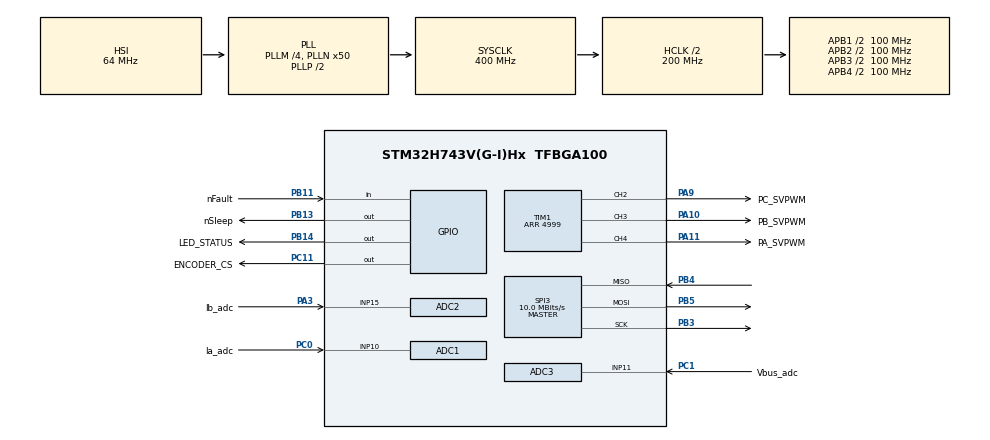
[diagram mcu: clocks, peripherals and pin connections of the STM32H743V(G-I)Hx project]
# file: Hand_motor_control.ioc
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ADC1.Channel-2\#ChannelRegularConversion=ADC_CHANNEL_10
ADC1.ClockPrescaler=ADC_CLOCK_ASYNC_DIV1
ADC1.EnableInjectedConversion=ENABLE
ADC1.ExternalTrigInjecConv=ADC_EXTERNALTRIGINJEC_T1_TRGO
ADC1.ExternalTrigInjecConvEdge=ADC_EXTERNALTRIGINJECCONV_EDGE_FALLING
ADC1.InjNumberOfConversion=1
ADC1.InjectedChannel-3\#ChannelInjectedConversion=ADC_CHANNEL_10
ADC1.InjectedOffsetNumber-3\#ChannelInjectedConversion=ADC_OFFSET_NONE
ADC1.InjectedOffsetSaturation-3\#ChannelInjectedConversion=DISABLE
ADC1.InjectedOffsetSignedSaturation-3\#ChannelInjectedConversion=DISABLE
ADC1.InjectedRank-3\#ChannelInjectedConversion=1
ADC1.InjectedSamplingTime-3\#ChannelInjectedConversion=ADC_SAMPLETIME_1CYCLE_5
ADC1.NbrOfConversionFlag=1
ADC1.OffsetNumber-2\#ChannelRegularConversion=ADC_OFFSET_NONE
ADC1.OffsetSignedSaturation-2\#ChannelRegularConversion=DISABLE
ADC1.Rank-2\#ChannelRegularConversion=1
ADC1.SamplingTime-2\#ChannelRegularConversion=ADC_SAMPLETIME_1CYCLE_5
ADC1.master=1
ADC2.Channel-1\#ChannelRegularConversion=ADC_CHANNEL_15
ADC2.ContinuousConvMode=DISABLE
ADC2.EnableInjectedConversion=ENABLE
ADC2.EnableRegularConversion=ENABLE
ADC2.ExternalTrigInjecConv=ADC_EXTERNALTRIGINJEC_T1_TRGO
ADC2.ExternalTrigInjecConvEdge=ADC_EXTERNALTRIGINJECCONV_EDGE_FALLING
ADC2.InjNumberOfConversion=1
ADC2.InjectedChannel-2\#ChannelInjectedConversion=ADC_CHANNEL_15
ADC2.InjectedOffsetNumber-2\#ChannelInjectedConversion=ADC_OFFSET_NONE
ADC2.InjectedOffsetSaturation-2\#ChannelInjectedConversion=DISABLE
ADC2.InjectedOffsetSignedSaturation-2\#ChannelInjectedConversion=DISABLE
ADC2.InjectedRank-2\#ChannelInjectedConversion=1
ADC2.InjectedSamplingTime-2\#ChannelInjectedConversion=ADC_SAMPLETIME_1CYCLE_5
ADC2.NbrOfConversionFlag=1
ADC2.OffsetNumber-1\#ChannelRegularConversion=ADC_OFFSET_NONE
ADC2.OffsetSignedSaturation-1\#ChannelRegularConversion=DISABLE
ADC2.Rank-1\#ChannelRegularConversion=1
ADC2.SamplingTime-1\#ChannelRegularConversion=ADC_SAMPLETIME_1CYCLE_5
ADC3.Channel-0\#ChannelRegularConversion=ADC_CHANNEL_11
ADC3.ClockPrescaler=ADC_CLOCK_ASYNC_DIV1
ADC3.EnableInjectedConversion=ENABLE
ADC3.ExternalTrigInjecConv=ADC_EXTERNALTRIGINJEC_T1_TRGO
ADC3.ExternalTrigInjecConvEdge=ADC_EXTERNALTRIGINJECCONV_EDGE_FALLING
ADC3.InjNumberOfConversion=1
ADC3.InjectedChannel-1\#ChannelInjectedConversion=ADC_CHANNEL_11
ADC3.InjectedOffsetNumber-1\#ChannelInjectedConversion=ADC_OFFSET_NONE
ADC3.InjectedOffsetSaturation-1\#ChannelInjectedConversion=DISABLE
ADC3.InjectedOffsetSignedSaturation-1\#ChannelInjectedConversion=DISABLE
ADC3.InjectedRank-1\#ChannelInjectedConversion=1
ADC3.InjectedSamplingTime-1\#ChannelInjectedConversion=ADC_SAMPLETIME_1CYCLE_5
ADC3.NbrOfConversionFlag=1
ADC3.OffsetNumber-0\#ChannelRegularConversion=ADC_OFFSET_NONE
ADC3.OffsetSignedSaturation-0\#ChannelRegularConversion=DISABLE
ADC3.Rank-0\#ChannelRegularConversion=1
ADC3.SamplingTime-0\#ChannelRegularConversion=ADC_SAMPLETIME_1CYCLE_5
CORTEX_M7.default_mode_Activation=1
Mcu.Family=STM32H7
Mcu.Name=STM32H743V(G-I)Hx
Mcu.Package=TFBGA100
NVIC.ADC_IRQn=true\:0\:0\:false\:false\:true\:true\:true\:true
NVIC.PriorityGroup=NVIC_PRIORITYGROUP_4
PA0.GPIO_Label=NTC
PA0.Signal=ADC1_INP16
PA10.GPIO_Label=PB_SVPWM
PA10.Signal=S_TIM1_CH3
PA11.GPIO_Label=PA_SVPWM
PA11.Signal=S_TIM1_CH4
PA13\ (JTMS/SWDIO).Signal=DEBUG_JTMS-SWDIO
PA14\ (JTCK/SWCLK).Signal=DEBUG_JTCK-SWCLK
PA3.GPIO_Label=Ib_adc
PA3.Signal=ADCx_INP15
PA9.GPIO_Label=PC_SVPWM
PA9.Signal=S_TIM1_CH2
PB11.GPIO_Label=nFault
PB11.Signal=GPIO_Input
PB13.GPIO_Label=nSleep
PB13.GPIO_OutputLevel=GPIO_PIN_SET
PB13.Signal=GPIO_Output
PB14.GPIO_Label=LED_STATUS
PB14.Signal=GPIO_Output
PB3\ (JTDO/TRACESWO).GPIO_Mode=GPIO_MODE_AF_PP
PB3\ (JTDO/TRACESWO).GPIO_PuPd=GPIO_NOPULL
PB3\ (JTDO/TRACESWO).GPIO_Speed=GPIO_SPEED_FREQ_VERY_HIGH
PB3\ (JTDO/TRACESWO).Mode=Full_Duplex_Master
PB3\ (JTDO/TRACESWO).Signal=SPI3_SCK
PB4\ (NJTRST).GPIO_Mode=GPIO_MODE_AF_PP
PB4\ (NJTRST).GPIO_PuPd=GPIO_NOPULL
PB4\ (NJTRST).GPIO_Speed=GPIO_SPEED_FREQ_VERY_HIGH
PB4\ (NJTRST).Mode=Full_Duplex_Master
PB4\ (NJTRST).Signal=SPI3_MISO
PB5.GPIO_Mode=GPIO_MODE_AF_PP
PB5.GPIO_PuPd=GPIO_NOPULL
PB5.GPIO_Speed=GPIO_SPEED_FREQ_VERY_HIGH
PB5.Mode=Full_Duplex_Master
PB5.Signal=SPI3_MOSI
PC0.GPIO_Label=Ia_adc
PC0.Signal=ADCx_INP10
PC1.GPIO_Label=Vbus_adc
PC1.Signal=ADCx_INP11
PC11.GPIO_Label=ENCODER_CS
PC11.GPIO_OutputLevel=GPIO_PIN_SET
PC11.GPIO_PuPd=GPIO_PULLUP
PC11.GPIO_Speed=GPIO_SPEED_FREQ_HIGH
PC11.Signal=GPIO_Output
PC14-OSC32_IN\ (OSC32_IN).Mode=LSE-External-Oscillator
PC14-OSC32_IN\ (OSC32_IN).Signal=RCC_OSC32_IN
PC15-OSC32_OUT\ (OSC32_OUT).Mode=LSE-External-Oscillator
PC15-OSC32_OUT\ (OSC32_OUT).Signal=RCC_OSC32_OUT
PE0.Signal=UART8_RX
PE1.Signal=UART8_TX
PE4.Signal=SPI4_NSS
PE5.Signal=SPI4_MISO
PE6.Signal=SPI4_MOSI
PH0-OSC_IN\ (PH0).Mode=HSE-External-Oscillator
PH0-OSC_IN\ (PH0).Signal=RCC_OSC_IN
PH1-OSC_OUT\ (PH1).Mode=HSE-External-Oscillator
PH1-OSC_OUT\ (PH1).Signal=RCC_OSC_OUT
ProjectManager.HeapSize=0x200
ProjectManager.StackSize=0x400
ProjectManager.TargetToolchain=STM32CubeIDE
RCC.ADCFreq_Value=80000000
RCC.APB1Freq_Value=100000000
RCC.APB2Freq_Value=100000000
RCC.APB3Freq_Value=100000000
RCC.APB4Freq_Value=100000000
RCC.CortexFreq_Value=400000000
RCC.D1PPRE=RCC_APB3_DIV2
RCC.D2PPRE1=RCC_APB1_DIV2
RCC.D2PPRE2=RCC_APB2_DIV2
RCC.D3PPRE=RCC_APB4_DIV2
RCC.DIVM1=4
RCC.DIVM2=4
RCC.DIVM3=4
RCC.DIVN1=50
RCC.DIVN2=10
RCC.DIVN3=10
RCC.DIVP3=1
RCC.HCLKFreq_Value=200000000
RCC.HPRE=RCC_HCLK_DIV2
RCC.PLL3FRACN=0
RCC.SPI123CLockSelection=RCC_SPI123CLKSOURCE_PLL3
RCC.SYSCLKFreq_VALUE=400000000
RCC.SYSCLKSource=RCC_SYSCLKSOURCE_PLLCLK
RCC.USBFreq_Value=400000000
SH.ADCx_INP10.0=ADC1_INP10,IN10-Single-Ended
SH.ADCx_INP11.0=ADC3_INP11,IN11-Single-Ended
SH.ADCx_INP15.0=ADC2_INP15,IN15-Single-Ended
SH.S_TIM1_CH2.0=TIM1_CH2,PWM Generation2 CH2
SH.S_TIM1_CH3.0=TIM1_CH3,PWM Generation3 CH3
SH.S_TIM1_CH4.0=TIM1_CH4,PWM Generation4 CH4
SPI3.BaudRatePrescaler=SPI_BAUDRATEPRESCALER_16
SPI3.CLKPhase=SPI_PHASE_2EDGE
SPI3.CLKPolarity=SPI_POLARITY_HIGH
SPI3.CalculateBaudRate=10.0 MBits/s
SPI3.DataSize=SPI_DATASIZE_8BIT
SPI3.Direction=SPI_DIRECTION_2LINES
SPI3.MasterKeepIOState=SPI_MASTER_KEEP_IO_STATE_ENABLE
SPI3.Mode=SPI_MODE_MASTER
SPI3.NSSPMode=SPI_NSS_PULSE_DISABLE
SPI3.VirtualType=VM_MASTER
STMicroelectronics.X-CUBE-ALGOBUILD.1.3.0.LibraryCcDSPOoLibraryJjDSPOoLibrary=true
TIM1.AutoReloadPreload=TIM_AUTORELOAD_PRELOAD_ENABLE
TIM1.Channel-PWM\ Generation1\ No\ Output=TIM_CHANNEL_1
TIM1.Channel-PWM\ Generation2\ CH2=TIM_CHANNEL_2
TIM1.Channel-PWM\ Generation3\ CH3=TIM_CHANNEL_3
TIM1.Channel-PWM\ Generation4\ CH4=TIM_CHANNEL_4
TIM1.CounterMode=TIM_COUNTERMODE_CENTERALIGNED1
TIM1.Period=4999
TIM1.Pulse-PWM\ Generation1\ No\ Output=4995
TIM1.TIM_MasterOutputTrigger=TIM_TRGO_OC1REF
TIM2.Prescaler=199
VP_MEMORYMAP_VS_MEMORYMAP.Mode=CurAppReg
VP_STMicroelectronics.X-CUBE-ALGOBUILD_VS_DSPOoLibraryJjLibrary_1.3.0_1.3.0.Mode=DSPOoLibraryJjLibrary
VP_TIM1_VS_no_output1.Mode=PWM Generation1 No Output
VP_TIM2_VS_ClockSourceINT.Mode=Internal
board=custom

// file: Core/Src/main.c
/* USER CODE BEGIN Header */
/**
  ******************************************************************************
  * @file           : main.c
  * @brief          : Main program body
  ******************************************************************************
  * @attention
  *
  * Copyright (c) 2026 STMicroelectronics.
  * All rights reserved.
  *
  * This software is licensed under terms that can be found in the LICENSE file
  * in the root directory of this software component.
  * If no LICENSE file comes with this software, it is provided AS-IS.
  *
  ******************************************************************************
  */
/* USER CODE END Header */
#include "main.h"
#include "adc.h"
#include "memorymap.h"
#include "spi.h"
#include "tim.h"
#include "gpio.h"

/* USER CODE BEGIN Includes */
#include <foc.h>
#include <foc_math.h>
#include <gpio_port.h>
#include <pwm_port.h>
#include "current_sensor.h"
#include <mt6826S.h>
#include <config.h>

/* USER CODE END Includes */

/* USER CODE BEGIN PV */

	volatile uint32_t elapsed_time = 0;

	state_t state;													// Quản lý các state

	mode_t ctrl_mode;												// Quản lý các mode control

	uint8_t new_mode = 0xff;

	user_command_t user_command;

	foc_t foc;														// Quản lý các trạng thái foc

	current_sensor_t current_sensor;								// Quản lý trạng thái feedback dòng

	encoder_t encoder;												// Quản lý feedback encoder

	static volatile bool current_offset_done = false;				// flag check offset

/* USER CODE END PV */

void SystemClock_Config(void);
void PeriphCommonClock_Config(void);
static void MPU_Config(void);

int main(void)
{

  /* MPU Configuration--------------------------------------------------------*/
  MPU_Config();

  /* MCU Configuration--------------------------------------------------------*/

  /* Reset of all peripherals, Initializes the Flash interface and the Systick. */
  HAL_Init();

  /* Configure the system clock */
  SystemClock_Config();

  /* Configure the peripherals common clocks */
  PeriphCommonClock_Config();

  /* Initialize all configured peripherals */
  MX_GPIO_Init();
  MX_ADC1_Init();
  MX_ADC2_Init();
  MX_ADC3_Init();
  MX_SPI3_Init();
  MX_TIM1_Init();
  MX_TIM2_Init();
  /* USER CODE BEGIN 2 */

  foc_init(&foc);												// Khởi tạo foc

  current_sensor_init(&current_sensor);							// Khởi tạo current sensor

  encoder_init(&encoder);										// Khởi tạo encoder

  // Set duty 3 pha bằng 50% nhằm calib current sensor

  drv_enable();													// Bật driver để current sense amplifier hoạt động

  HAL_Delay(500);												// Current sense amplifier ổn định

  adc_start();													// Bật ADC Injected

  pwm_start();													// Bật timer tạo TRGO, duty 3 pha bằng 50%

  pwm_set((uint32_t)  htim1.Init.Period / 2U, (uint32_t) htim1.Init.Period / 2U, (uint32_t) htim1.Init.Period / 2U);

  while (!current_offset_done) {

  }

  pwm_set(0U, 0U, 0U);

//  foc_voltage_bus_read(&foc);
//
//  foc_run_calib_encoder(&foc, &encoder);

  /* USER CODE END 2 */

  /* Infinite loop */
  while (1)
  {

  }
}

void SystemClock_Config(void)
{
  RCC_OscInitTypeDef RCC_OscInitStruct = {0};
  RCC_ClkInitTypeDef RCC_ClkInitStruct = {0};

  /** Supply configuration update enable
  */
  HAL_PWREx_ConfigSupply(PWR_LDO_SUPPLY);

  /** Configure the main internal regulator output voltage
  */
  __HAL_PWR_VOLTAGESCALING_CONFIG(PWR_REGULATOR_VOLTAGE_SCALE1);

  while(!__HAL_PWR_GET_FLAG(PWR_FLAG_VOSRDY)) {}

  /** Initializes the RCC Oscillators according to the specified parameters
  * in the RCC_OscInitTypeDef structure.
  */
  RCC_OscInitStruct.OscillatorType = RCC_OSCILLATORTYPE_HSI;
  RCC_OscInitStruct.HSIState = RCC_HSI_DIV1;
  RCC_OscInitStruct.HSICalibrationValue = RCC_HSICALIBRATION_DEFAULT;
  RCC_OscInitStruct.PLL.PLLState = RCC_PLL_ON;
  RCC_OscInitStruct.PLL.PLLSource = RCC_PLLSOURCE_HSI;
  RCC_OscInitStruct.PLL.PLLM = 4;
  RCC_OscInitStruct.PLL.PLLN = 50;
  RCC_OscInitStruct.PLL.PLLP = 2;
  RCC_OscInitStruct.PLL.PLLQ = 2;
  RCC_OscInitStruct.PLL.PLLR = 2;
  RCC_OscInitStruct.PLL.PLLRGE = RCC_PLL1VCIRANGE_3;
  RCC_OscInitStruct.PLL.PLLVCOSEL = RCC_PLL1VCOWIDE;
  RCC_OscInitStruct.PLL.PLLFRACN = 0;
  if (HAL_RCC_OscConfig(&RCC_OscInitStruct) != HAL_OK)
  {
    Error_Handler();
  }

  /** Initializes the CPU, AHB and APB buses clocks
  */
  RCC_ClkInitStruct.ClockType = RCC_CLOCKTYPE_HCLK|RCC_CLOCKTYPE_SYSCLK
                              |RCC_CLOCKTYPE_PCLK1|RCC_CLOCKTYPE_PCLK2
                              |RCC_CLOCKTYPE_D3PCLK1|RCC_CLOCKTYPE_D1PCLK1;
  RCC_ClkInitStruct.SYSCLKSource = RCC_SYSCLKSOURCE_PLLCLK;
  RCC_ClkInitStruct.SYSCLKDivider = RCC_SYSCLK_DIV1;
  RCC_ClkInitStruct.AHBCLKDivider = RCC_HCLK_DIV2;
  RCC_ClkInitStruct.APB3CLKDivider = RCC_APB3_DIV2;
  RCC_ClkInitStruct.APB1CLKDivider = RCC_APB1_DIV2;
  RCC_ClkInitStruct.APB2CLKDivider = RCC_APB2_DIV2;
  RCC_ClkInitStruct.APB4CLKDivider = RCC_APB4_DIV2;

  if (HAL_RCC_ClockConfig(&RCC_ClkInitStruct, FLASH_LATENCY_2) != HAL_OK)
  {
    Error_Handler();
  }
}

void PeriphCommonClock_Config(void)
{
  RCC_PeriphCLKInitTypeDef PeriphClkInitStruct = {0};

  /** Initializes the peripherals clock
  */
  PeriphClkInitStruct.PeriphClockSelection = RCC_PERIPHCLK_ADC;
  PeriphClkInitStruct.PLL2.PLL2M = 4;
  PeriphClkInitStruct.PLL2.PLL2N = 10;
  PeriphClkInitStruct.PLL2.PLL2P = 2;
  PeriphClkInitStruct.PLL2.PLL2Q = 2;
  PeriphClkInitStruct.PLL2.PLL2R = 2;
  PeriphClkInitStruct.PLL2.PLL2RGE = RCC_PLL2VCIRANGE_3;
  PeriphClkInitStruct.PLL2.PLL2VCOSEL = RCC_PLL2VCOMEDIUM;
  PeriphClkInitStruct.PLL2.PLL2FRACN = 0;
  PeriphClkInitStruct.AdcClockSelection = RCC_ADCCLKSOURCE_PLL2;
  if (HAL_RCCEx_PeriphCLKConfig(&PeriphClkInitStruct) != HAL_OK)
  {
    Error_Handler();
  }
}

/* USER CODE BEGIN 4 */
void HAL_SPI_TxRxCpltCallback(SPI_HandleTypeDef *hspi)
{
	(void)hspi;

}

void HAL_ADCEx_InjectedConvCpltCallback(ADC_HandleTypeDef *hadc){

  if (hadc->Instance == ADC1) {
	  __HAL_TIM_SET_COUNTER(&htim2, 0);
	// Nếu mà chưa get offset xong thì sẽ lấy offset

    if (!current_offset_done) {

      current_offset_done = current_sensor_get_offset(&current_sensor);

    }
     // Khi lấy offset xong, ngắt ADC kích, chu kỳ FOC bắt đầu hoạt động
    else {

    	// Voltage bus read
    	foc_voltage_bus_read(&foc);

      // Read current
      current_sensor_read(&foc, &current_sensor);

      // Read encorder
      encoder_start_TransmitReceive(&encoder);

      // Nếu mà crc không fault sẽ cập nhật góc mới, còn không sẽ chạy code cũ
	  if (encoder.data_valid == true) {

		float angle_m_new = encoder_read_angle(&encoder);

		// Nếu góc return ok thì cập nhật góc điện, góc multi-angle
		if ((encoder.crc_fault == false) && (encoder.status == 0U)) {

		  foc_update_angle(&foc, angle_m_new);

		}
      }

      // Chạy vòng vị trí sau khi đã có góc encoder hợp lệ, và tạo mốc góc 0 độ
      if (foc.angle_initialized == true) {

        foc_ctrl_pos_run(&foc, DEG_TO_RAD(user_command.pos_ref_deg));
      }

//	  if (foc.angle_initialized == true) {
//
//	    foc_speed_ctrl_run(&foc, user_command.rpm_ref);
//	  }

    }

    elapsed_time = __HAL_TIM_GET_COUNTER(&htim2);
  }

}

/* USER CODE END 4 */

 /* MPU Configuration */

void MPU_Config(void)
{
  MPU_Region_InitTypeDef MPU_InitStruct = {0};

  /* Disables the MPU */
  HAL_MPU_Disable();

  /** Initializes and configures the Region and the memory to be protected
  */
  MPU_InitStruct.Enable = MPU_REGION_ENABLE;
  MPU_InitStruct.Number = MPU_REGION_NUMBER0;
  MPU_InitStruct.BaseAddress = 0x0;
  MPU_InitStruct.Size = MPU_REGION_SIZE_4GB;
  MPU_InitStruct.SubRegionDisable = 0x87;
  MPU_InitStruct.TypeExtField = MPU_TEX_LEVEL0;
  MPU_InitStruct.AccessPermission = MPU_REGION_NO_ACCESS;
  MPU_InitStruct.DisableExec = MPU_INSTRUCTION_ACCESS_DISABLE;
  MPU_InitStruct.IsShareable = MPU_ACCESS_SHAREABLE;
  MPU_InitStruct.IsCacheable = MPU_ACCESS_NOT_CACHEABLE;
  MPU_InitStruct.IsBufferable = MPU_ACCESS_NOT_BUFFERABLE;

  HAL_MPU_ConfigRegion(&MPU_InitStruct);
  /* Enables the MPU */
  HAL_MPU_Enable(MPU_PRIVILEGED_DEFAULT);

}

void Error_Handler(void)
{
  __disable_irq();
  while (1)
  {
  }
}
